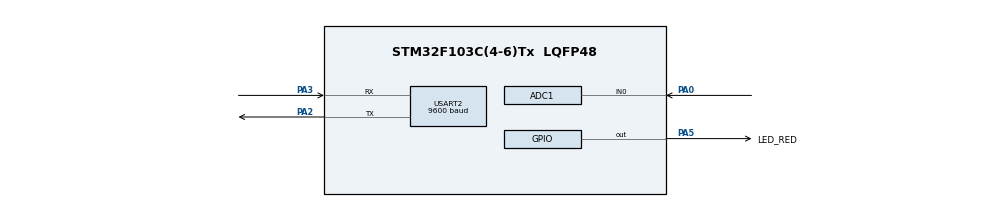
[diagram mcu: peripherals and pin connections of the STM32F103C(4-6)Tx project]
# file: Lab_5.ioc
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ADC1.Channel-0\#ChannelRegularConversion=ADC_CHANNEL_0
ADC1.ContinuousConvMode=ENABLE
ADC1.NbrOfConversionFlag=1
ADC1.Rank-0\#ChannelRegularConversion=1
ADC1.SamplingTime-0\#ChannelRegularConversion=ADC_SAMPLETIME_1CYCLE_5
ADC1.master=1
Mcu.Family=STM32F1
Mcu.Name=STM32F103C(4-6)Tx
Mcu.Package=LQFP48
NVIC.PriorityGroup=NVIC_PRIORITYGROUP_4
NVIC.TIM2_IRQn=true\:0\:0\:false\:false\:true\:true\:true
NVIC.USART2_IRQn=true\:0\:0\:false\:false\:true\:true\:true
PA0-WKUP.Signal=ADCx_IN0
PA2.Mode=Asynchronous
PA2.Signal=USART2_TX
PA3.Mode=Asynchronous
PA3.Signal=USART2_RX
PA5.GPIO_Label=LED_RED
PA5.Signal=GPIO_Output
ProjectManager.HeapSize=0x200
ProjectManager.StackSize=0x400
ProjectManager.TargetToolchain=STM32CubeIDE
RCC.APB1Freq_Value=8000000
RCC.APB2Freq_Value=8000000
SH.ADCx_IN0.0=ADC1_IN0,IN0
TIM2.Period=9
TIM2.Prescaler=7999
USART2.BaudRate=9600
USART2.VirtualMode=VM_ASYNC
VP_SYS_VS_ND.Mode=No_Debug
VP_TIM2_VS_ClockSourceINT.Mode=Internal
board=custom

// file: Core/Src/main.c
/* USER CODE BEGIN Header */
/**
  ******************************************************************************
  * @file           : main.c
  * @brief          : Main program body
  ******************************************************************************
  * @attention
  *
  * <h2><center>&copy; Copyright (c) 2024 STMicroelectronics.
  * All rights reserved.</center></h2>
  *
  * This software component is licensed by ST under BSD 3-Clause license,
  * the "License"; You may not use this file except in compliance with the
  * License. You may obtain a copy of the License at:
  *                        opensource.org/licenses/BSD-3-Clause
  *
  ******************************************************************************
  */
/* USER CODE END Header */
#include "main.h"

/* USER CODE BEGIN Includes */
#include <stdio.h>
#include "string.h"
#include "software_timer.h"
/* USER CODE END Includes */

/* USER CODE BEGIN PTD */
# define MAX_BUFFER_SIZE 30
# define IDLE 0
# define RECEIVING 1
# define DONE 2

# define CMD_CHECK 6
# define SEND 7
# define WAIT_ACK 8
# define RETRANSMIT 9
# define ERROR_FORMAT 10

# define RST 14
# define OK 15
# define NONE 16

# define TIMER_WAIT_ACK 0
uint8_t temp = 0;
uint8_t buffer [ MAX_BUFFER_SIZE ];
uint8_t index_buffer = 0;
uint8_t buffer_flag = 0;
uint8_t cmd[MAX_BUFFER_SIZE];

uint32_t ADC_value = 0;
uint32_t lastADC_value = 0;
uint8_t response[MAX_BUFFER_SIZE];

int failure = 0;
int parser_state = IDLE;
int cmd_state = NONE;
int cmd_flag = 0;
int cursor_cmd = 0;
int ok_flag = 0;

int uart_state = IDLE;
/* USER CODE END PTD */

ADC_HandleTypeDef hadc1;

TIM_HandleTypeDef htim2;

UART_HandleTypeDef huart2;

void SystemClock_Config(void);
static void MX_GPIO_Init(void);
static void MX_ADC1_Init(void);
static void MX_USART2_UART_Init(void);
static void MX_TIM2_Init(void);

/* USER CODE BEGIN 0 */

void HAL_UART_RxCpltCallback ( UART_HandleTypeDef * huart ) {
	if( huart -> Instance == USART2 ) {
		buffer[index_buffer++] = temp;
		if (index_buffer == 30)
			index_buffer = 0;
		buffer_flag = 1; // notice for new byte
		HAL_UART_Receive_IT(&huart2, &temp, 1); // active to receive new data coming
	}
}

void uart_communication_fsm(){
	switch (uart_state) {
		case IDLE:
			if (cmd_flag == 1){
				cmd_flag = 0;
				uart_state = CMD_CHECK;
			}
			break;
		case CMD_CHECK:
			if (cmd_state == RST)
				uart_state = SEND;
			else if (cmd_state == OK){
				uart_state = IDLE;
				HAL_GPIO_WritePin(LED_RED_GPIO_Port, LED_RED_Pin, SET);
			}
			else
				uart_state = ERROR_FORMAT;
			break;
		case ERROR_FORMAT:
			snprintf((char*)response, sizeof(response), "Wrong Format \r\n"); // wrong format
			HAL_UART_Transmit(&huart2, response, sizeof(response), 1000);
			uart_state = IDLE;
			break;
		case SEND:
			HAL_GPIO_WritePin(LED_RED_GPIO_Port, LED_RED_Pin, RESET);
			ADC_value =  HAL_ADC_GetValue(&hadc1);
			lastADC_value = ADC_value;
			snprintf((char*)response, sizeof(response), "ADC=%lu#\r\n",(uint32_t) ADC_value); // format
			HAL_UART_Transmit(&huart2, response, sizeof(response), 1000);
			uart_state = WAIT_ACK;
			failure = 0;
			setTimer(TIMER_WAIT_ACK, 3000);
			break;
		case WAIT_ACK:
			if (flag_timer[TIMER_WAIT_ACK]){
				failure++;
				uart_state = RETRANSMIT;
			}
			if (cmd_flag){
				uart_state = CMD_CHECK;
				cmd_flag = 0;
			}
			break;
		case RETRANSMIT:
			if (failure >= 3){
				uart_state = IDLE;
				failure = 0;
				break;
			}
			snprintf((char*)response, sizeof(response), "ADC=%lu#\r\n",(uint32_t) lastADC_value); // format
			HAL_UART_Transmit(&huart2, response, sizeof(response), 1000);
			setTimer(TIMER_WAIT_ACK, 3000);
			uart_state = WAIT_ACK;
		default:
			break;
	}
}

void command_parser_fsm(){
	char character = buffer[index_buffer - 1];
	switch (parser_state) {
		case IDLE:
			if (buffer_flag == 1){
				/* get new byte from buffer */
				if (character == '!'){//start command
					parser_state = RECEIVING;
					cursor_cmd = 0;
				}
			}
			break;
		case RECEIVING:
			if (buffer_flag == 1){
				if (character == '#'){ // end command
					cmd[cursor_cmd] = '\0'; // add null to end string
					parser_state = DONE;
				}
				else
					cmd[cursor_cmd++] = character;
			}
			break;
		case DONE:
			if (strcmp((char*) cmd, "RST") == 0){
				cmd_state = RST;
			}
			else if (strcmp((char*) cmd, "OK") == 0){
				cmd_state = OK;
			}
			else cmd_state = NONE;
			cmd_flag = 1;
			parser_state = IDLE;
			break;
		default:
			parser_state = IDLE;
			break;
	}
}

/* USER CODE END 0 */

int main(void)
{

  /* MCU Configuration--------------------------------------------------------*/

  /* Reset of all peripherals, Initializes the Flash interface and the Systick. */
  HAL_Init();

  /* Configure the system clock */
  SystemClock_Config();

  /* Initialize all configured peripherals */
  MX_GPIO_Init();
  MX_ADC1_Init();
  MX_USART2_UART_Init();
  MX_TIM2_Init();
  /* USER CODE BEGIN 2 */
  HAL_TIM_Base_Start_IT(& htim2);
  HAL_UART_Receive_IT (& huart2 , & temp , 1) ;
  HAL_ADC_Start(&hadc1);
  /* USER CODE END 2 */

  /* Infinite loop */
  /* USER CODE BEGIN WHILE */

  while (1)
  {
	  if (buffer_flag == 1){
		  command_parser_fsm();
		  buffer_flag = 0;
	  }
	  uart_communication_fsm();

    /* USER CODE END WHILE */

  }
}

void SystemClock_Config(void)
{
  RCC_OscInitTypeDef RCC_OscInitStruct = {0};
  RCC_ClkInitTypeDef RCC_ClkInitStruct = {0};
  RCC_PeriphCLKInitTypeDef PeriphClkInit = {0};

  /** Initializes the RCC Oscillators according to the specified parameters
  * in the RCC_OscInitTypeDef structure.
  */
  RCC_OscInitStruct.OscillatorType = RCC_OSCILLATORTYPE_HSI;
  RCC_OscInitStruct.HSIState = RCC_HSI_ON;
  RCC_OscInitStruct.HSICalibrationValue = RCC_HSICALIBRATION_DEFAULT;
  RCC_OscInitStruct.PLL.PLLState = RCC_PLL_NONE;
  if (HAL_RCC_OscConfig(&RCC_OscInitStruct) != HAL_OK)
  {
    Error_Handler();
  }
  /** Initializes the CPU, AHB and APB buses clocks
  */
  RCC_ClkInitStruct.ClockType = RCC_CLOCKTYPE_HCLK|RCC_CLOCKTYPE_SYSCLK
                              |RCC_CLOCKTYPE_PCLK1|RCC_CLOCKTYPE_PCLK2;
  RCC_ClkInitStruct.SYSCLKSource = RCC_SYSCLKSOURCE_HSI;
  RCC_ClkInitStruct.AHBCLKDivider = RCC_SYSCLK_DIV1;
  RCC_ClkInitStruct.APB1CLKDivider = RCC_HCLK_DIV1;
  RCC_ClkInitStruct.APB2CLKDivider = RCC_HCLK_DIV1;

  if (HAL_RCC_ClockConfig(&RCC_ClkInitStruct, FLASH_LATENCY_0) != HAL_OK)
  {
    Error_Handler();
  }
  PeriphClkInit.PeriphClockSelection = RCC_PERIPHCLK_ADC;
  PeriphClkInit.AdcClockSelection = RCC_ADCPCLK2_DIV2;
  if (HAL_RCCEx_PeriphCLKConfig(&PeriphClkInit) != HAL_OK)
  {
    Error_Handler();
  }
}

static void MX_ADC1_Init(void)
{

  ADC_ChannelConfTypeDef sConfig = {0};

  /** Common config
  */
  hadc1.Instance = ADC1;
  hadc1.Init.ScanConvMode = ADC_SCAN_DISABLE;
  hadc1.Init.ContinuousConvMode = ENABLE;
  hadc1.Init.DiscontinuousConvMode = DISABLE;
  hadc1.Init.ExternalTrigConv = ADC_SOFTWARE_START;
  hadc1.Init.DataAlign = ADC_DATAALIGN_RIGHT;
  hadc1.Init.NbrOfConversion = 1;
  if (HAL_ADC_Init(&hadc1) != HAL_OK)
  {
    Error_Handler();
  }
  /** Configure Regular Channel
  */
  sConfig.Channel = ADC_CHANNEL_0;
  sConfig.Rank = ADC_REGULAR_RANK_1;
  sConfig.SamplingTime = ADC_SAMPLETIME_1CYCLE_5;
  if (HAL_ADC_ConfigChannel(&hadc1, &sConfig) != HAL_OK)
  {
    Error_Handler();
  }

}

static void MX_TIM2_Init(void)
{

  TIM_ClockConfigTypeDef sClockSourceConfig = {0};
  TIM_MasterConfigTypeDef sMasterConfig = {0};

  htim2.Instance = TIM2;
  htim2.Init.Prescaler = 7999;
  htim2.Init.CounterMode = TIM_COUNTERMODE_UP;
  htim2.Init.Period = 9;
  htim2.Init.ClockDivision = TIM_CLOCKDIVISION_DIV1;
  htim2.Init.AutoReloadPreload = TIM_AUTORELOAD_PRELOAD_DISABLE;
  if (HAL_TIM_Base_Init(&htim2) != HAL_OK)
  {
    Error_Handler();
  }
  sClockSourceConfig.ClockSource = TIM_CLOCKSOURCE_INTERNAL;
  if (HAL_TIM_ConfigClockSource(&htim2, &sClockSourceConfig) != HAL_OK)
  {
    Error_Handler();
  }
  sMasterConfig.MasterOutputTrigger = TIM_TRGO_RESET;
  sMasterConfig.MasterSlaveMode = TIM_MASTERSLAVEMODE_DISABLE;
  if (HAL_TIMEx_MasterConfigSynchronization(&htim2, &sMasterConfig) != HAL_OK)
  {
    Error_Handler();
  }

}

static void MX_USART2_UART_Init(void)
{

  huart2.Instance = USART2;
  huart2.Init.BaudRate = 9600;
  huart2.Init.WordLength = UART_WORDLENGTH_8B;
  huart2.Init.StopBits = UART_STOPBITS_1;
  huart2.Init.Parity = UART_PARITY_NONE;
  huart2.Init.Mode = UART_MODE_TX_RX;
  huart2.Init.HwFlowCtl = UART_HWCONTROL_NONE;
  huart2.Init.OverSampling = UART_OVERSAMPLING_16;
  if (HAL_UART_Init(&huart2) != HAL_OK)
  {
    Error_Handler();
  }

}

static void MX_GPIO_Init(void)
{
  GPIO_InitTypeDef GPIO_InitStruct = {0};

  /* GPIO Ports Clock Enable */
  __HAL_RCC_GPIOA_CLK_ENABLE();

  /*Configure GPIO pin Output Level */
  HAL_GPIO_WritePin(LED_RED_GPIO_Port, LED_RED_Pin, GPIO_PIN_RESET);

  /*Configure GPIO pin : LED_RED_Pin */
  GPIO_InitStruct.Pin = LED_RED_Pin;
  GPIO_InitStruct.Mode = GPIO_MODE_OUTPUT_PP;
  GPIO_InitStruct.Pull = GPIO_NOPULL;
  GPIO_InitStruct.Speed = GPIO_SPEED_FREQ_LOW;
  HAL_GPIO_Init(LED_RED_GPIO_Port, &GPIO_InitStruct);

}

/* USER CODE BEGIN 4 */
void HAL_TIM_PeriodElapsedCallback(TIM_HandleTypeDef *htim){
	runTimer(TIMER_WAIT_ACK);
}
/* USER CODE END 4 */

void Error_Handler(void)
{
  __disable_irq();
  while (1)
  {
  }
}

/************************ (C) COPYRIGHT STMicroelectronics *****END OF FILE****/
